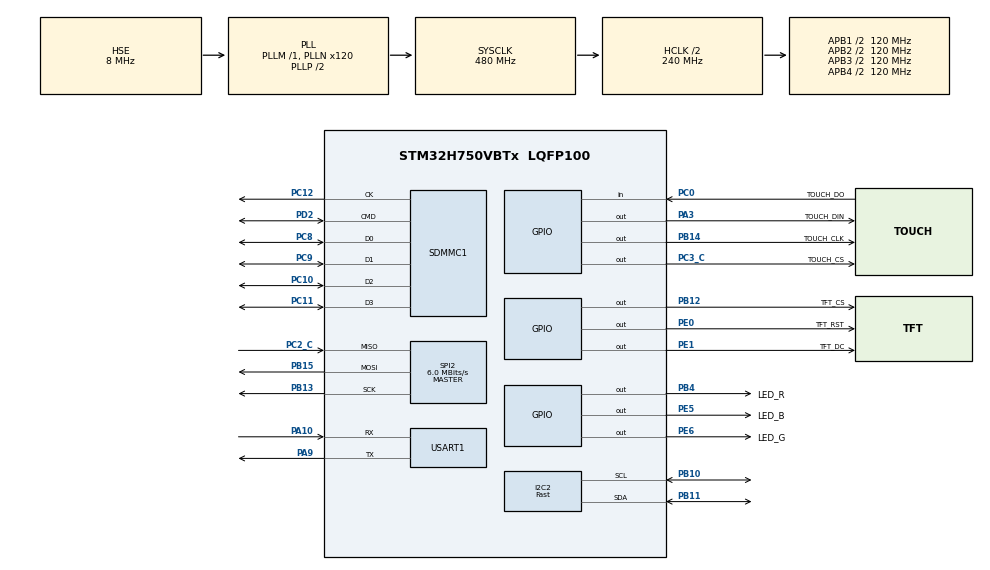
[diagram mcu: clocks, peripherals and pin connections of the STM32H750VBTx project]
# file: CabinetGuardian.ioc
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I2C2.I2C_Speed_Mode=I2C_Fast
I2C2.Timing=0x00B03FDB
Mcu.Family=STM32H7
Mcu.Name=STM32H750VBTx
Mcu.Package=LQFP100
NVIC.PriorityGroup=NVIC_PRIORITYGROUP_4
PA10.Mode=Asynchronous
PA10.Signal=USART1_RX
PA3.GPIO_Label=TOUCH_DIN
PA3.GPIO_Speed=GPIO_SPEED_FREQ_LOW
PA3.PinState=GPIO_PIN_RESET
PA3.Signal=GPIO_Output
PA9.Mode=Asynchronous
PA9.Signal=USART1_TX
PB10.Mode=I2C
PB10.Signal=I2C2_SCL
PB11.Mode=I2C
PB11.Signal=I2C2_SDA
PB12.GPIO_Label=TFT_CS
PB12.GPIO_Speed=GPIO_SPEED_FREQ_HIGH
PB12.PinState=GPIO_PIN_SET
PB12.Signal=GPIO_Output
PB13.Mode=Full_Duplex_Master
PB13.Signal=SPI2_SCK
PB14.GPIO_Label=TOUCH_CLK
PB14.GPIO_Speed=GPIO_SPEED_FREQ_LOW
PB14.PinState=GPIO_PIN_RESET
PB14.Signal=GPIO_Output
PB15.Mode=Full_Duplex_Master
PB15.Signal=SPI2_MOSI
PB4\ (NJTRST).GPIO_Label=LED_R
PB4\ (NJTRST).GPIO_PuPd=GPIO_PULLUP
PB4\ (NJTRST).PinState=GPIO_PIN_SET
PB4\ (NJTRST).Signal=GPIO_Output
PC0.GPIO_Label=TOUCH_DO
PC0.GPIO_PuPd=GPIO_NOPULL
PC0.Signal=GPIO_Input
PC10.Mode=SD_4_bits_Wide_bus
PC10.Signal=SDMMC1_D2
PC11.Mode=SD_4_bits_Wide_bus
PC11.Signal=SDMMC1_D3
PC12.Mode=SD_4_bits_Wide_bus
PC12.Signal=SDMMC1_CK
PC2_C.Mode=Full_Duplex_Master
PC2_C.Signal=SPI2_MISO
PC3_C.GPIO_Label=TOUCH_CS
PC3_C.GPIO_Speed=GPIO_SPEED_FREQ_LOW
PC3_C.PinState=GPIO_PIN_SET
PC3_C.Signal=GPIO_Output
PC8.Mode=SD_4_bits_Wide_bus
PC8.Signal=SDMMC1_D0
PC9.Mode=SD_4_bits_Wide_bus
PC9.Signal=SDMMC1_D1
PD2.Mode=SD_4_bits_Wide_bus
PD2.Signal=SDMMC1_CMD
PE0.GPIO_Label=TFT_RST
PE0.GPIO_Speed=GPIO_SPEED_FREQ_HIGH
PE0.PinState=GPIO_PIN_SET
PE0.Signal=GPIO_Output
PE1.GPIO_Label=TFT_DC
PE1.GPIO_Speed=GPIO_SPEED_FREQ_HIGH
PE1.Signal=GPIO_Output
PE5.GPIO_Label=LED_B 
PE5.GPIO_PuPd=GPIO_PULLUP
PE5.PinState=GPIO_PIN_SET
PE5.Signal=GPIO_Output
PE6.GPIO_Label=LED_G 
PE6.GPIO_PuPd=GPIO_PULLUP
PE6.PinState=GPIO_PIN_SET
PE6.Signal=GPIO_Output
PH0-OSC_IN\ (PH0).Mode=HSE-External-Oscillator
PH0-OSC_IN\ (PH0).Signal=RCC_OSC_IN
PH1-OSC_OUT\ (PH1).Mode=HSE-External-Oscillator
PH1-OSC_OUT\ (PH1).Signal=RCC_OSC_OUT
ProjectManager.HeapSize=0x200
ProjectManager.StackSize=0x400
ProjectManager.TargetToolchain=MDK-ARM V5.32
RCC.ADCFreq_Value=16125000
RCC.APB1Freq_Value=120000000
RCC.APB2Freq_Value=120000000
RCC.APB3Freq_Value=120000000
RCC.APB4Freq_Value=120000000
RCC.CortexFreq_Value=480000000
RCC.D1PPRE=RCC_APB3_DIV2
RCC.D2PPRE1=RCC_APB1_DIV2
RCC.D2PPRE2=RCC_APB2_DIV2
RCC.D3PPRE=RCC_APB4_DIV2
RCC.DIVM1=1
RCC.DIVN1=120
RCC.DIVQ1=5
RCC.HCLKFreq_Value=240000000
RCC.HPRE=RCC_HCLK_DIV2
RCC.HSE_VALUE=8000000
RCC.PLLFRACN=0
RCC.PLLSourceVirtual=RCC_PLLSOURCE_HSE
RCC.PWR_Regulator_Voltage_Scale=PWR_REGULATOR_VOLTAGE_SCALE0
RCC.SYSCLKFreq_VALUE=480000000
RCC.SYSCLKSource=RCC_SYSCLKSOURCE_PLLCLK
RCC.USBFreq_Value=192000000
SDMMC1.ClockDiv=4
SPI2.BaudRatePrescaler=SPI_BAUDRATEPRESCALER_32
SPI2.CalculateBaudRate=6.0 MBits/s
SPI2.DataSize=SPI_DATASIZE_8BIT
SPI2.Direction=SPI_DIRECTION_2LINES
SPI2.Mode=SPI_MODE_MASTER
SPI2.VirtualType=VM_MASTER
USART1.VirtualMode-Asynchronous=VM_ASYNC
VP_FATFS_VS_SDIO.Mode=SDIO
board=custom

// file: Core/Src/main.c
/* USER CODE BEGIN Header */
/**
  ******************************************************************************
  * @file           : main.c
  * @brief          : Main program body
  ******************************************************************************
  * @attention
  *
  * <h2><center>&copy; Copyright (c) 2026 STMicroelectronics.
  * All rights reserved.</center></h2>
  *
  * This software component is licensed by ST under BSD 3-Clause license,
  * the "License"; You may not use this file except in compliance with the
  * License. You may obtain a copy of the License at:
  *                        opensource.org/licenses/BSD-3-Clause
  *
  ******************************************************************************
  */
/* USER CODE END Header */
#include "main.h"
#include "fatfs.h"
#include "i2c.h"
#include "bsp_log.h"
#include "i2c_bus.h"
#include "sht30.h"
#include "sdmmc.h"
#include "spi.h"
#include "usart.h"
#include "gpio.h"

/* USER CODE BEGIN Includes */
#include <string.h>
#include "ili9341.h"
#include "lcd_ui.h"
#include "xpt2046.h"
#include "w5500.h"
#include "ds18b20.h"

/* USER CODE END Includes */

/* USER CODE BEGIN PD */
/* 接线核对模式：1 = 上电先逐根线慢翻转，配合万用表核对；平时保持 0 */
#define LCD_WIRING_TEST 0

/* 触摸自检开关：
 * XPT_WIRING_TEST      1 = 触摸四线逐根慢翻转核对；平时 0
 * XPT_SELFTEST_MODE    1 = 标定向导  2 = 五点验收
 * XPT_SELFTEST_SECONDS > 0 = 上电跑 N 秒（阻塞），正式固件改回 0 */
#define XPT_WIRING_TEST        0
#define XPT_SELFTEST_MODE      2
#define XPT_SELFTEST_SECONDS   0
/* USER CODE END PD */

/* USER CODE BEGIN PV */
/* FATFS/DIR/FIL 共约 1.2KB，main 的栈只有 1KB，必须放文件级静态 */
static FATFS s_fs;
static DIR   s_dir;
static FIL   s_fil;
/* dump / 取大小用的文件对象 */
static FIL   s_dbg;

static uint32_t g_cycle = 0;

/* USER CODE END PV */

void SystemClock_Config(void);

/* USER CODE BEGIN 0 */
/* 极简串口输出，不用 printf，省几 KB Flash */
static void uart_puts(const char *s)
{
    HAL_UART_Transmit(&huart1, (uint8_t *)s, (uint16_t)strlen(s), 1000);
}

static void uart_put_u32(uint32_t v)
{
    char buf[12];
    char tmp[10];
    int  i = 0, j;

    if (v == 0u)
    {
        buf[0] = '0';
        buf[1] = '\0';
    }
    else
    {
        while (v > 0u && i < 10)
        {
            tmp[i++] = (char)('0' + (int)(v % 10u));
            v /= 10u;
        }
        for (j = 0; j < i; j++)
        {
            buf[j] = tmp[i - 1 - j];
        }
        buf[i] = '\0';
    }
    uart_puts(buf);
}

static void uart_put_hex32(uint32_t v)
{
    static const char hex[] = "0123456789ABCDEF";
    char buf[9];
    int  i;

    for (i = 7; i >= 0; i--)
    {
        buf[i] = hex[v & 0xFu];
        v >>= 4;
    }
    buf[8] = '\0';
    uart_puts(buf);
}

/* 打一个字节的两位十六进制，只给诊断用 */
static void uart_put_hex2(uint8_t b)
{
    static const char hex[] = "0123456789ABCDEF";
    char buf[3];

    buf[0] = hex[(b >> 4) & 0x0Fu];
    buf[1] = hex[b & 0x0Fu];
    buf[2] = '\0';
    uart_puts(buf);
}

/* uint32 -> 十进制 ASCII，写进 out[]，返回字节数（不写结尾 '\0'） */
static int u32_to_str(uint32_t v, char *out)
{
    char tmp[10];
    int  i = 0;
    int  j;

    if (v == 0u)
    {
        out[0] = '0';
        return 1;
    }

    while (v > 0u)
    {
        tmp[i] = (char)('0' + (int)(v % 10u));
        i++;
        v /= 10u;
    }

    for (j = 0; j < i; j++)
    {
        out[j] = tmp[i - 1 - j];
    }

    return i;
}

/* 拼一行心跳： "cycle <n>\r\n"，返回字节数（不含结尾 '\0'，buf 至少 20 字节）。 */
static int build_cycle_line(uint32_t n, char *buf)
{
    int len;

    memcpy(buf, "cycle ", 6);
    len = 6;

    len += u32_to_str(n, buf + len);

    buf[len++] = '\r';
    buf[len++] = '\n';
    buf[len]   = '\0';

    return len;
}

/* 取文件字节数（只读打开→读大小→关闭）。打不开时返回 0xFFFFFFFF。 */
static uint32_t file_size_of(const char *path)
{
    FRESULT  fr;
    uint32_t sz;

    fr = f_open(&s_dbg, path, FA_READ);
    if (fr != FR_OK)
    {
        return 0xFFFFFFFFu;
    }
    sz = (uint32_t)f_size(&s_dbg);
    f_close(&s_dbg);

    return sz;
}

/* 把文件开头 max 字节 dump 到串口（没读卡器时的验证手段），定长发 */
static void file_dump_head(const char *path, uint32_t max)
{
    FRESULT  fr;
    UINT     br;
    uint32_t total = 0;
    uint32_t left;
    UINT     want;
    char     tmp[64];

    fr = f_open(&s_dbg, path, FA_READ);
    if (fr != FR_OK)
    {
        uart_puts("--- "); uart_puts(path);
        uart_puts(" : open FAILED fr="); uart_put_u32((uint32_t)fr); uart_puts("\r\n");
        return;
    }

    uart_puts("--- "); uart_puts(path); uart_puts(" size=");
    uart_put_u32((uint32_t)f_size(&s_dbg));
    uart_puts(" B, head ---\r\n");

    while (total < max)
    {
        left = max - total;
        want = (left < (uint32_t)sizeof(tmp)) ? (UINT)left : (UINT)sizeof(tmp);

        br = 0;
        fr = f_read(&s_dbg, tmp, want, &br);
        if (fr != FR_OK || br == 0)
        {
            break;
        }
        HAL_UART_Transmit(&huart1, (uint8_t *)tmp, (uint16_t)br, 1000);
        total += br;
    }

    uart_puts("\r\n--- dump end, "); uart_put_u32(total); uart_puts(" B shown ---\r\n");

    f_close(&s_dbg);
}

/* 面板数据。数值暂为占位值：SHT30 / INA219 / DS18B20 接好后换成实测转换结果 */
static lcd_ui_data_t s_ui;

/* 填数据并刷新面板。一次刷新约 0.3 秒，按周期调用，别每轮都刷 */
static void ui_refresh(uint32_t cycle, uint32_t spi_err, uint8_t sd_ok)
{
    char tmp[12];
    int  n;

    strcpy(s_ui.temp, "25.4");
    strcpy(s_ui.curr, "0.42");
    strcpy(s_ui.volt, "12.1");

    s_ui.lvl_temp    = LCD_UI_OK;
    s_ui.lvl_curr    = LCD_UI_WARN;      /* 故意留一路非正常，便于分辨三个色块 */
    s_ui.lvl_volt    = LCD_UI_OK;
    s_ui.alarm_level = LCD_UI_WARN;
    s_ui.heater_on   = 0;
    s_ui.log_ok      = 1;
    s_ui.sd_ok       = sd_ok;

    n = u32_to_str(cycle, tmp);
    tmp[n] = 0;
    strcpy(s_ui.cycle, tmp);

    n = u32_to_str(spi_err, tmp);
    tmp[n] = 0;
    strcpy(s_ui.spi_err, tmp);

    lcd_ui_update(&s_ui);
}

/* M7：触摸轮询与画点 */

/* 各动作周期，时间片调度互不阻塞 */
#define TICK_LED_MS       300u      /* RGB 每色亮多久 */
#define TICK_TOUCH_MS      20u      /* 触摸扫描周期：50Hz 手感够，也不占 CPU */
#define TICK_HB_MS       1000u      /* 心跳：串口一行 + 追加进 SD 日志 */
#define TICK_UI_MS      10000u      /* 面板刷新（原来是每 10 轮，约 9 秒一次） */
#define TICK_W5500_MS    5000u      /* W5500 状态监视：原始读帧诊断，5 秒一行 */
#define TICK_DS18B20_MS  2000u      /* DS18B20 读数打印周期 */
#define TICK_I2C_MS      3000u      /* I2C 总线扫描周期 */
#define TICK_SHT30_MS    2000u      /* SHT30 读数打印周期 */

#define TOUCH_STATUS_Y    304u      /* 触摸状态行占用屏幕最底下 16 像素 */
#define TOUCH_MARK_COLOR  ILI9341_RED
#define TOUCH_MARK_TTL_MS 250u      /* 十字在手松开后亮多久就擦掉 */

/* 累计触摸次数 */
static uint32_t g_touch_n = 0u;

/* 十字的状态：g_mark_on=1 表示屏上还留着十字，g_mark_ms 是最后一次画的时间。
 * g_mark_x0..x1 / y0..y1 是这一轮画过的所有十字的包围盒（拖一笔会画一串），
 * 擦的时候按这个范围涂黑。 */
static uint8_t  g_mark_on = 0u;
static uint32_t g_mark_ms = 0u;
static uint8_t  g_touch_down = 0u;      /* 这一次触摸是否还按着 */
static uint16_t g_mark_x0 = 0u;
static uint16_t g_mark_x1 = 0u;
static uint16_t g_mark_y0 = 0u;
static uint16_t g_mark_y1 = 0u;
static uint16_t g_last_px = 0u;         /* 松手时的最终坐标，擦完十字要补回状态行 */
static uint16_t g_last_py = 0u;

/* 往 dst 尾部追加 src，返回追加的字节数 */
static int append_str(char *dst, const char *src)
{
    int n = 0;

    while (src[n] != '\0')
    {
        dst[n] = src[n];
        n++;
    }
    return n;
}

/* 在 (px,py) 画 9x9 十字，坐标先夹进屏幕（四周各伸 4 像素） */
static void touch_marker(uint16_t px, uint16_t py)
{
    uint16_t x = px;
    uint16_t y = py;

    if (x < 4u)                       { x = 4u; }
    if (x > (ILI9341_WIDTH - 5u))     { x = (uint16_t)(ILI9341_WIDTH - 5u); }
    if (y < 4u)                       { y = 4u; }
    if (y > (ILI9341_HEIGHT - 5u))    { y = (uint16_t)(ILI9341_HEIGHT - 5u); }

    ili9341_draw_hline((uint16_t)(x - 4u), y, 9u, TOUCH_MARK_COLOR);
    ili9341_fill_rect(x, (uint16_t)(y - 4u), 1u, 9u, TOUCH_MARK_COLOR);

    if (g_mark_on == 0u)                    /* 这一轮的第一笔：包围盒从它开始 */
    {
        g_mark_x0 = (uint16_t)(x - 4u);
        g_mark_x1 = (uint16_t)(x + 4u);
        g_mark_y0 = (uint16_t)(y - 4u);
        g_mark_y1 = (uint16_t)(y + 4u);
    }
    else
    {
        if ((uint16_t)(x - 4u) < g_mark_x0) { g_mark_x0 = (uint16_t)(x - 4u); }
        if ((uint16_t)(x + 4u) > g_mark_x1) { g_mark_x1 = (uint16_t)(x + 4u); }
        if ((uint16_t)(y - 4u) < g_mark_y0) { g_mark_y0 = (uint16_t)(y - 4u); }
        if ((uint16_t)(y + 4u) > g_mark_y1) { g_mark_y1 = (uint16_t)(y + 4u); }
    }

    g_mark_on = 1u;
    g_mark_ms = HAL_GetTick();
}

/* 底部状态行：最后一次的像素坐标 + 累计次数 */
static void touch_status(uint16_t px, uint16_t py)
{
    char buf[32];
    int  n = 0;

    n += append_str(buf + n, "TOUCH x=");
    n += u32_to_str(px, buf + n);
    n += append_str(buf + n, " y=");
    n += u32_to_str(py, buf + n);
    n += append_str(buf + n, "  n=");
    n += u32_to_str(g_touch_n, buf + n);
    buf[n] = '\0';

    ili9341_fill_rect(0u, TOUCH_STATUS_Y, ILI9341_WIDTH, 16u, ILI9341_BLACK);
    ili9341_draw_string(4u, TOUCH_STATUS_Y, buf, ILI9341_WHITE, ILI9341_BLACK, 1u);
}

/* 松手时串口打一行：像素坐标 + 对应原始值 + 累计次数 */
static void touch_log_line(uint16_t px, uint16_t py, uint16_t rx, uint16_t ry)
{
    uart_puts("TOUCH px=");
    uart_put_u32(px);
    uart_puts(" py=");
    uart_put_u32(py);
    uart_puts("  raw=");
    uart_put_u32(rx);
    uart_puts(",");
    uart_put_u32(ry);
    uart_puts("  n=");
    uart_put_u32(g_touch_n);
    uart_puts("\r\n");
}

/* 触摸轮询（每 TICK_TOUCH_MS 调一次）：按下画十字并跟手，松手把最终坐标记到状态行。
 * 十字跟手就说明触摸扫描没被 LED / 写卡 / 刷屏的延时卡住。 */
static void touch_poll(void)
{
    static uint8_t  down_before = 0u;
    static uint16_t last_x      = 0u;
    static uint16_t last_y      = 0u;
    static uint16_t last_rx     = 0u;
    static uint16_t last_ry     = 0u;
    uint16_t px = 0u, py = 0u;
    uint16_t rx = 0u, ry = 0u;
    uint16_t dx, dy;
    uint8_t  down;

    down = xpt2046_read_screen_fast(&px, &py, &rx, &ry);

    if (down == 0u)
    {
        if (down_before != 0u)                  /* 松手：记下最终坐标 */
        {
            down_before  = 0u;
            g_touch_down = 0u;
            g_last_px    = last_x;
            g_last_py    = last_y;
            touch_status(last_x, last_y);
            touch_log_line(last_x, last_y, last_rx, last_ry);
        }
        return;
    }

    if (down_before == 0u)                      /* 刚按下 */
    {
        down_before  = 1u;
        g_touch_down = 1u;
        g_touch_n++;
    }
    else
    {
        dx = (last_x > px) ? (uint16_t)(last_x - px) : (uint16_t)(px - last_x);
        dy = (last_y > py) ? (uint16_t)(last_y - py) : (uint16_t)(py - last_y);
        if ((dx < 3u) && (dy < 3u))
        {
            return;                             /* 没挪几个像素就不重画，省总线 */
        }
    }

    last_x  = px;
    last_y  = py;
    last_rx = rx;
    last_ry = ry;
    touch_marker(px, py);
}

/* 十字到点自己擦掉。屏的 SDO(MISO) 没接线、读不回显存，
 * 只能先把十字走过的范围涂黑，再把面板内容重画回去盖住被涂掉的部分。
 * 手还按着时不擦，免得重画这一下把触摸扫描挡住、漏掉下一次点按。 */
static void touch_marker_tick(void)
{
    if (g_mark_on == 0u)
    {
        return;
    }

    if (g_touch_down != 0u)                 /* 按着就先留着，松手再算时间 */
    {
        g_mark_ms = HAL_GetTick();
        return;
    }
    if ((HAL_GetTick() - g_mark_ms) < TOUCH_MARK_TTL_MS)
    {
        return;
    }

    g_mark_on = 0u;
    ili9341_fill_rect(g_mark_x0, g_mark_y0,
                      (uint16_t)(g_mark_x1 - g_mark_x0 + 1u),
                      (uint16_t)(g_mark_y1 - g_mark_y0 + 1u), ILI9341_BLACK);
    lcd_ui_repaint();
    ui_refresh(g_cycle, ili9341_error_count(), 1u);
    if (g_touch_n != 0u)
    {
        touch_status(g_last_px, g_last_py);     /* 底行不在面板范围内，单独补回 */
    }
}

/* USER CODE END 0 */

int main(void)
{

  /* MCU Configuration--------------------------------------------------------*/

  /* Reset of all peripherals, Initializes the Flash interface and the Systick. */
  HAL_Init();

  /* Configure the system clock */
  SystemClock_Config();

  /* Initialize all configured peripherals */
  MX_GPIO_Init();
  MX_USART1_UART_Init();
  MX_SDMMC1_SD_Init();
  MX_FATFS_Init();
  MX_SPI2_Init();
  MX_I2C2_Init();
  /* USER CODE BEGIN 2 */
  bsp_log_set(uart_puts);
    /* M1：上电自检（USART1，板载 CH340C） */
    uart_puts("\r\n\r\n");
    uart_puts("========================================\r\n");
    uart_puts("  Cabinet Guardian - Cabinet Health Monitor\r\n");
    uart_puts("  Power-On Self Test (POST)\r\n");
    uart_puts("========================================\r\n");
    uart_puts("MCU        : STM32H750VBTx\r\n");
    uart_puts("SYSCLK     : "); uart_put_u32(HAL_RCC_GetSysClockFreq()); uart_puts(" Hz\r\n");
    uart_puts("HCLK (AXI) : "); uart_put_u32(HAL_RCC_GetHCLKFreq());    uart_puts(" Hz\r\n");
    uart_puts("PCLK1(APB1): "); uart_put_u32(HAL_RCC_GetPCLK1Freq());   uart_puts(" Hz\r\n");
    uart_puts("PCLK2(APB2): "); uart_put_u32(HAL_RCC_GetPCLK2Freq());   uart_puts(" Hz\r\n");
    uart_puts("UART       : 115200 8N1\r\n");
    uart_puts("----------------------------------------\r\n");
    uart_puts("RGB LED    : cycling RED -> GREEN -> BLUE\r\n\r\n");

    /* M4：TFT 屏自检（红 -> 绿 -> 蓝 各 0.4 秒）。串口字符串保持 ASCII */
    {
        uint8_t lcd_err;

#if LCD_WIRING_TEST
        ili9341_set_log(uart_puts);
        ili9341_wiring_test();
#endif

        uart_puts("TFT LCD    : ");
        lcd_err = ili9341_init();
        if (lcd_err == 0)
        {
            uart_puts("init OK");
        }
        else
        {
            uart_puts("init ERR x");
            uart_put_u32(lcd_err);
        }
        uart_puts("  SPI err total=");
        uart_put_u32(ili9341_error_count());
        uart_puts("\r\n");

        ili9341_fill(ILI9341_RED);
        HAL_Delay(400);
        ili9341_fill(ILI9341_GREEN);
        HAL_Delay(400);
        ili9341_fill(ILI9341_BLUE);
        HAL_Delay(400);
        ili9341_fill(ILI9341_BLACK);

        uart_puts("TFT color  : RED -> GREEN -> BLUE -> BLACK\r\n");
        /* M5：控制柜面板（数值先用占位值） */
        lcd_ui_draw_static();
        ui_refresh(0, ili9341_error_count(), 1);
        uart_puts("TFT UI     : panel drawn\r\n");
    }

    /* M6：触摸（XPT2046）自检。XPT_SELFTEST_MODE 选向导，受 XPT_SELFTEST_SECONDS
     * 秒上限约束，都是阻塞的，正式固件里秒数改回 0：
     *   1 = 标定向导（点四条边取标定值）  2 = 五点验收（四角加正中，PASS/FAIL） */
    {
        xpt2046_set_log(uart_puts);
        xpt2046_init();

        /* 开机打印实际生效的标定值，确认烧进去的是新固件 */
        {
            const xpt2046_cal_t *c = xpt2046_get_cal();

            uart_puts("XPT cal    : x ");
            uart_put_u32(c->x_raw_at_0);
            uart_puts("..");
            uart_put_u32(c->x_raw_at_max);
            uart_puts("  y ");
            uart_put_u32(c->y_raw_at_0);
            uart_puts("..");
            uart_put_u32(c->y_raw_at_max);
            uart_puts("  swap=");
            uart_put_u32(c->swap_xy);
            uart_puts("\r\n");
        }

#if XPT_WIRING_TEST
        uart_puts("TOUCH XPT  : wiring check\r\n");
        xpt2046_wiring_test();
#endif

#if XPT_SELFTEST_SECONDS > 0
    #if XPT_SELFTEST_MODE == 1
        xpt2046_selftest(XPT_SELFTEST_SECONDS);
    #elif XPT_SELFTEST_MODE == 2
        xpt2046_verify(XPT_SELFTEST_SECONDS);
    #endif
#endif
    }

    /* M8：W5500 自检。先只读版本寄存器 —— 读到 0x04 就说明 SPI 三线、
     * 片选、供电全对，不用急着联网。 */
    {
        uart_puts("W5500      : ");
        if (w5500_init() == 0)
        {
            uart_puts("init OK  VERSIONR=0x");
            uart_put_hex32((uint32_t)w5500_version());
            uart_puts("  PHYCFGR=0x");
            uart_put_hex32((uint32_t)w5500_read8(W5500_PHYCFGR, W5500_BSB_COMMON));
            uart_puts(w5500_link_up() ? "  LINK=up" : "  LINK=down");
            uart_puts("\r\n");
        }
        else
        {
            uart_puts("init ERR  version=0x");
            uart_put_hex32((uint32_t)w5500_version());
            uart_puts("  spi err total=");
            uart_put_u32(w5500_error_count());
            uart_puts("\r\n");
            {
                uint8_t p[8];
                uint8_t i, idle, idle_fast;

                w5500_bus_probe(p, 8u);
                uart_puts("             VERSIONR read frame:");
                for (i = 0u; i < 8u; i++)
                {
                    uart_puts(" ");
                    uart_put_hex2(p[i]);
                }
                uart_puts((p[3] == 0x04u)
                          ? "  -> chip answered OK\r\n"
                          : "  -> byte[3] should be 04 (address not received: check MOSI)\r\n");
                idle = w5500_miso_idle(&idle_fast);
                uart_puts("             MISO idle: fast=");
                uart_put_hex32((uint32_t)idle_fast);
                uart_puts(" settled=");
                uart_put_hex32((uint32_t)idle);
                uart_puts((idle == 0u)
                          ? "  (settled 0: something holds it low)\r\n"
                          : "  (settled 1: nobody drives it = floating or Hi-Z)\r\n");

                uart_puts("             probe bytes:");
                for (i = 0u; i < 8u; i++)
                {
                    uart_puts(" ");
                    uart_put_hex2(p[i]);
                }
                uart_puts("\r\n");

                /* 位翻转慢速 SPI 再读一次：绕过 SPI2 外设，
                 * 把"模块不搭话"和"SPI2 配置有问题"分开 */
                uart_puts("             via bitbang: VERSIONR=0x");
                uart_put_hex2(w5500_bitbang_read8(W5500_VERSIONR, W5500_BSB_COMMON));
                uart_puts("  RTR hi=0x");
                uart_put_hex2(w5500_bitbang_read8(W5500_RTR, W5500_BSB_COMMON));
                uart_puts(" lo=0x");
                uart_put_hex2(w5500_bitbang_read8((uint16_t)(W5500_RTR + 1u), W5500_BSB_COMMON));
                uart_puts("  (expect 04 / 07 / D0)\r\n");
            }
            uart_puts("             check: SCS=PA8 SCLK=PB13 MOSI=PB15 MISO=PB14 5V GND\r\n");
        }
    }

    /* M9：静态 IP + UDP 自检（开关 W5500_NET_TEST 在 w5500.h）。
     * 网线插好后跑这一段：PC 的 NetAssist 每秒收到一行心跳，
     * 从 NetAssist 发的包会在这里打印来源并原样回一个。 */
#if W5500_NET_TEST
    if (w5500_version() == 0x04u)
    {
        (void)w5500_net_up();
    }
    else
    {
        uart_puts("W5500 net  : skip, M8 did not answer\r\n");
    }
#endif

    /* M10：DS18B20 自检（PC13 = 板载单线座）。PC13 由驱动自己配成开漏输出，
     * 判据：串口打出 ROM=28 开头和一条合理的温度 */
    {
        ds18b20_selftest();
    }

    /* M11：I2C2 总线扫描（PB10=SCL / PB11=SDA，走 P2 座的丝印 SCL/SDA）。
     * 判据：插一只报一只，主循环里继续扫，插拔随时看得见 */
    {
        i2c_bus_selftest();
    }

    /* M12：SHT30 自检，两个地址各读一次。
     * 判据：0x44 打出一行 T= / RH= 就说明地址对、驱动通；rc 非 0 见 sht30.c 的返回码 */
    {
        sht30_selftest();
    }

    /* M3：SD 卡 + FATFS
     * 顺序有讲究：CubeMX 使能 FATFS 后，不再由 sdmmc.c 初始化卡，改由 FATFS 的
     * BSP_SD_Init() 在首次 f_mount 时识别，所以卡信息必须挂载之后再读 ——
     * 读早了 hsd1 还是全 0。
     * 另：HAL_SD_GetCardInfo() 不填 CardSpeed，打印它会读到未初始化的栈内存。 */
    {
        HAL_SD_CardInfoTypeDef ci;
        FRESULT fr;
        DWORD   free_clusters = 0;
        FATFS  *fsp = &s_fs;

        /* 1. 挂载 —— 卡在这一步被识别 */
        fr = f_mount(&s_fs, "0:", 1);
        uart_puts("FATFS mount: ");
        if (fr != FR_OK)
        {
            uart_puts("FAILED  fr=");
            uart_put_u32((uint32_t)fr);
            uart_puts("   (13=FR_NO_FILESYSTEM, 3=FR_NOT_READY)\r\n");

            /* HAL 层可能还留着原因 */
            uart_puts("raw HAL    : state=");
            uart_put_u32((uint32_t)hsd1.State);
            uart_puts("  err=0x");
            uart_put_hex32(hsd1.ErrorCode);
            uart_puts("\r\n");
        }
        else
        {
            uart_puts("OK\r\n");

            /* 2. 卡信息（挂载之后才有效） */
            if (HAL_SD_GetCardInfo(&hsd1, &ci) != HAL_OK)
            {
                uart_puts("SD card    : GetCardInfo FAILED");
                uart_puts("\r\n");
            }
            else
            {
                /* 16GB 卡上 BlockNbr 乘 BlockSize 超过 32 位，必须用 64 位算。 */
                uint32_t cap_mb = (uint32_t)(((uint64_t)ci.BlockNbr *
                                              (uint64_t)ci.BlockSize)
                                             / (1024ULL * 1024ULL));
                uart_puts("SD card    : OK\r\n");
                uart_puts("SD type    : ");
                uart_put_u32(ci.CardType);    uart_puts("\r\n");
                uart_puts("SD version : ");
                uart_put_u32(ci.CardVersion); uart_puts("\r\n");
                /* Class 是 CSD 的 CCC 命令类位图，不是速度等级 */
                uart_puts("SD class   : ");
                uart_put_u32(ci.Class);       uart_puts("\r\n");
                uart_puts("SD blockNbr: ");
                uart_put_u32(ci.BlockNbr);    uart_puts("\r\n");
                uart_puts("SD blockSz : ");
                uart_put_u32(ci.BlockSize);   uart_puts("\r\n");
                uart_puts("SD capacity: ");
                uart_put_u32(cap_mb);         uart_puts(" MB"); uart_puts("\r\n");
            }

            /* 3. 剩余空间 */
            fr = f_getfree("0:", &free_clusters, &fsp);
            if (fr == FR_OK)
            {
                /* free_clusters 单位是簇；一簇 = s_fs.csize 个 512 字节扇区。 */
                uint32_t free_mb = (uint32_t)(((uint64_t)free_clusters *
                                              (uint64_t)s_fs.csize * 512ULL)
                                             / (1024ULL * 1024ULL));
                uart_puts("FATFS free : ");
                uart_put_u32(free_mb);
                uart_puts(" MB   (cluster = ");
                uart_put_u32((uint32_t)s_fs.csize);
                uart_puts(" sectors)\r\n");
            }
            else
            {
                uart_puts("FATFS free : FAILED  fr=");
                uart_put_u32((uint32_t)fr);
                uart_puts("\r\n");
            }

            /* 4. 列根目录 */
            {
                FILINFO  fno;
                uint32_t n = 0;

                fr = f_opendir(&s_dir, "0:/");
                if (fr != FR_OK)
                {
                    uart_puts("FATFS dir  : FAILED  fr=");
                    uart_put_u32((uint32_t)fr);
                    uart_puts("\r\n");
                }
                else
                {
                    uart_puts("FATFS dir  :\r\n");
                    for (;;)
                    {
                        fr = f_readdir(&s_dir, &fno);
                        if (fr != FR_OK || fno.fname[0] == 0) break;
                        uart_puts("  ");
                        if (fno.fattrib & AM_DIR) uart_puts("[DIR ] ");
                        else                      uart_puts("[FILE] ");
                        uart_puts(fno.fname);
                        uart_puts("\r\n");
                        n++;
                    }
                    f_closedir(&s_dir);
                    uart_puts("FATFS dir  : ");
                    uart_put_u32(n);
                    uart_puts(" entries\r\n");
                }
            }

            /* 5. 写文件再读回来比对，固件自己验证写入 */
            {
                UINT bw = 0, br = 0;
                static const char LINE[] = "Cabinet Guardian FATFS self test\r\n";
                char rd[sizeof(LINE)];

                fr = f_open(&s_fil, "0:/CG_TEST.TXT", FA_CREATE_ALWAYS | FA_WRITE);
                if (fr != FR_OK)
                {
                    uart_puts("FATFS write: FAILED (open) fr=");
                    uart_put_u32((uint32_t)fr);
                    uart_puts("\r\n");
                }
                else
                {
                    fr = f_write(&s_fil, LINE, sizeof(LINE) - 1, &bw);
                    if (fr == FR_OK) fr = f_sync(&s_fil);   /* 立刻落盘 */
                    f_close(&s_fil);

                    if (fr != FR_OK || bw != sizeof(LINE) - 1)
                    {
                        uart_puts("FATFS write: FAILED  fr=");
                        uart_put_u32((uint32_t)fr);
                        uart_puts("  wrote=");
                        uart_put_u32((uint32_t)bw);
                        uart_puts("\r\n");
                    }
                    else
                    {
                        uart_puts("FATFS write: ");
                        uart_put_u32((uint32_t)bw);
                        uart_puts(" bytes -> CG_TEST.TXT\r\n");

                        fr = f_open(&s_fil, "0:/CG_TEST.TXT", FA_READ);
                        if (fr == FR_OK)
                        {
                            fr = f_read(&s_fil, rd, sizeof(LINE) - 1, &br);
                            f_close(&s_fil);
                            rd[sizeof(LINE) - 1] = 0;
                            if (fr == FR_OK && br == sizeof(LINE) - 1 &&
                                memcmp(rd, LINE, sizeof(LINE) - 1) == 0)
                            {
                                uart_puts("FATFS read : OK, content matches\r\n");
                            }
                            else
                            {
                                uart_puts("FATFS read : MISMATCH\r\n");
                            }
                        }
                    }
                }
            }

            /* 6. 日志文件开头 dump 一次，看上一轮存了什么 */
            file_dump_head("0:/LOG.TXT", 200);
        }
    }

  /* M2/M7 时间片主循环的节拍。原来整轮用 HAL_Delay 串起来（光 RGB 三色就 0.9 秒），
     触摸扫描夹在里面会漏按。 */
  uint32_t t_led    = HAL_GetTick();
  uint32_t t_touch  = HAL_GetTick();
  uint32_t t_hb     = HAL_GetTick();
  uint32_t t_ui     = HAL_GetTick();
  uint32_t t_w5     = HAL_GetTick();
  uint32_t t_udp    = HAL_GetTick();
  uint32_t t_ds     = HAL_GetTick();
  uint32_t t_i2c    = HAL_GetTick();
  uint32_t t_sht    = HAL_GetTick();
  uint8_t  led_step = 0u;

  /* USER CODE END 2 */

  /* Infinite loop */
  while (1)
  {

    /* USER CODE BEGIN 3 */
    uint32_t now = HAL_GetTick();

    /* M2：RGB 轮闪（低电平点亮），每 TICK_LED_MS 换一种颜色 */
    if ((now - t_led) >= TICK_LED_MS)
    {
        t_led = now;
        HAL_GPIO_WritePin(LED_R_GPIO_Port, LED_R_Pin, GPIO_PIN_SET);      /* 全灭 */
        HAL_GPIO_WritePin(LED_G_GPIO_Port, LED_G_Pin, GPIO_PIN_SET);
        HAL_GPIO_WritePin(LED_B_GPIO_Port, LED_B_Pin, GPIO_PIN_SET);
        if (led_step == 0u)                    { HAL_GPIO_WritePin(LED_R_GPIO_Port, LED_R_Pin, GPIO_PIN_RESET); }
        else if (led_step == 1u)               { HAL_GPIO_WritePin(LED_G_GPIO_Port, LED_G_Pin, GPIO_PIN_RESET); }
        else                                   { HAL_GPIO_WritePin(LED_B_GPIO_Port, LED_B_Pin, GPIO_PIN_RESET); }
        led_step = (uint8_t)((led_step + 1u) % 3u);
    }

    /* M7：触摸轮询（每 20ms 一次，跟手的关键） */
    if ((now - t_touch) >= TICK_TOUCH_MS)
    {
        t_touch = now;
        touch_poll();
        touch_marker_tick();
    }

    /* W5500 网络：收包随时处理，心跳按周期发 */
#if W5500_NET_TEST
    w5500_udp_poll();
    if ((now - t_udp) >= W5500_UDP_HB_MS)
    {
        t_udp = now;
        w5500_udp_send_heartbeat();
    }
#endif

    /* W5500 监视：每 5 秒一行原始读帧，查「初始化能读、进主循环读回 0」这种现象 */
    if ((now - t_w5) >= TICK_W5500_MS)
    {
        t_w5 = now;
        w5500_watch_dump();
    }

    /* DS18B20：按周期读一次并打印温度 */
    if ((now - t_ds) >= TICK_DS18B20_MS)
    {
        t_ds = now;
        ds18b20_poll();
    }

    /* I2C2：总线上器件有增删才打印 */
    if ((now - t_i2c) >= TICK_I2C_MS)
    {
        t_i2c = now;
        i2c_bus_poll();
    }

    /* SHT30：按周期读两个地址 */
    if ((now - t_sht) >= TICK_SHT30_MS)
    {
        t_sht = now;
        sht30_poll();
    }

    /* 心跳：串口一行 + 追加进 SD 日志 */
    if ((now - t_hb) >= TICK_HB_MS)
    {
        char line[20];
        int  n;

        t_hb = now;
        g_cycle++;
        n = build_cycle_line(g_cycle, line);
        uart_puts(line);

        {
            FRESULT fr;
            UINT    bw = 0;

            fr = f_open(&s_fil, "0:/LOG.TXT", FA_WRITE | FA_OPEN_APPEND);
            if (fr != FR_OK)
            {
                uart_puts("FATFS write: FAILED (open) fr=");
                uart_put_u32((uint32_t)fr);
                uart_puts("\r\n");
            }
            else
            {
                fr = f_write(&s_fil, line, n, &bw);
                if (fr != FR_OK || bw != n)
                {
                    uart_puts("FATFS write: FAILED  fr=");
                    uart_put_u32((uint32_t)fr);
                    uart_puts("  wrote=");
                    uart_put_u32((uint32_t)bw);
                    uart_puts("\r\n");
                }
                f_close(&s_fil);
            }
        }

        uart_puts("LOG size = ");
        uart_put_u32(file_size_of("0:/LOG.TXT"));
        uart_puts(" B\r\n");
    }

    /* 面板刷新：一次几十毫秒，周期放长 */
    if ((now - t_ui) >= TICK_UI_MS)
    {
        t_ui = now;
        ui_refresh(g_cycle, ili9341_error_count(), 1u);
    }

  }
  /* USER CODE END 3 */
}

void SystemClock_Config(void)
{
  RCC_OscInitTypeDef RCC_OscInitStruct = {0};
  RCC_ClkInitTypeDef RCC_ClkInitStruct = {0};

  /** Supply configuration update enable
  */
  HAL_PWREx_ConfigSupply(PWR_LDO_SUPPLY);
  /** Configure the main internal regulator output voltage
  */
  __HAL_PWR_VOLTAGESCALING_CONFIG(PWR_REGULATOR_VOLTAGE_SCALE0);

  while(!__HAL_PWR_GET_FLAG(PWR_FLAG_VOSRDY)) {}
  /** Initializes the RCC Oscillators according to the specified parameters
  * in the RCC_OscInitTypeDef structure.
  */
  RCC_OscInitStruct.OscillatorType = RCC_OSCILLATORTYPE_HSE;
  RCC_OscInitStruct.HSEState = RCC_HSE_ON;
  RCC_OscInitStruct.PLL.PLLState = RCC_PLL_ON;
  RCC_OscInitStruct.PLL.PLLSource = RCC_PLLSOURCE_HSE;
  RCC_OscInitStruct.PLL.PLLM = 1;
  RCC_OscInitStruct.PLL.PLLN = 120;
  RCC_OscInitStruct.PLL.PLLP = 2;
  RCC_OscInitStruct.PLL.PLLQ = 5;
  RCC_OscInitStruct.PLL.PLLR = 2;
  RCC_OscInitStruct.PLL.PLLRGE = RCC_PLL1VCIRANGE_3;
  RCC_OscInitStruct.PLL.PLLVCOSEL = RCC_PLL1VCOWIDE;
  RCC_OscInitStruct.PLL.PLLFRACN = 0;
  if (HAL_RCC_OscConfig(&RCC_OscInitStruct) != HAL_OK)
  {
    Error_Handler();
  }
  /** Initializes the CPU, AHB and APB buses clocks
  */
  RCC_ClkInitStruct.ClockType = RCC_CLOCKTYPE_HCLK|RCC_CLOCKTYPE_SYSCLK
                              |RCC_CLOCKTYPE_PCLK1|RCC_CLOCKTYPE_PCLK2
                              |RCC_CLOCKTYPE_D3PCLK1|RCC_CLOCKTYPE_D1PCLK1;
  RCC_ClkInitStruct.SYSCLKSource = RCC_SYSCLKSOURCE_PLLCLK;
  RCC_ClkInitStruct.SYSCLKDivider = RCC_SYSCLK_DIV1;
  RCC_ClkInitStruct.AHBCLKDivider = RCC_HCLK_DIV2;
  RCC_ClkInitStruct.APB3CLKDivider = RCC_APB3_DIV2;
  RCC_ClkInitStruct.APB1CLKDivider = RCC_APB1_DIV2;
  RCC_ClkInitStruct.APB2CLKDivider = RCC_APB2_DIV2;
  RCC_ClkInitStruct.APB4CLKDivider = RCC_APB4_DIV2;

  if (HAL_RCC_ClockConfig(&RCC_ClkInitStruct, FLASH_LATENCY_4) != HAL_OK)
  {
    Error_Handler();
  }
}

void Error_Handler(void)
{
  /* USER CODE BEGIN Error_Handler_Debug */
  /* 先打印出错原因再停住 */
  uart_puts("\r\n*** FATAL: Error_Handler() ***\r\n");
  uart_puts("SD  err=0x"); uart_put_hex32(hsd1.ErrorCode);
  uart_puts("  state=");   uart_put_u32((uint32_t)hsd1.State);
  uart_puts("\r\n");

  __disable_irq();
  while (1)
  {
  }
  /* USER CODE END Error_Handler_Debug */
}

/************************ (C) COPYRIGHT STMicroelectronics *****END OF FILE****/
